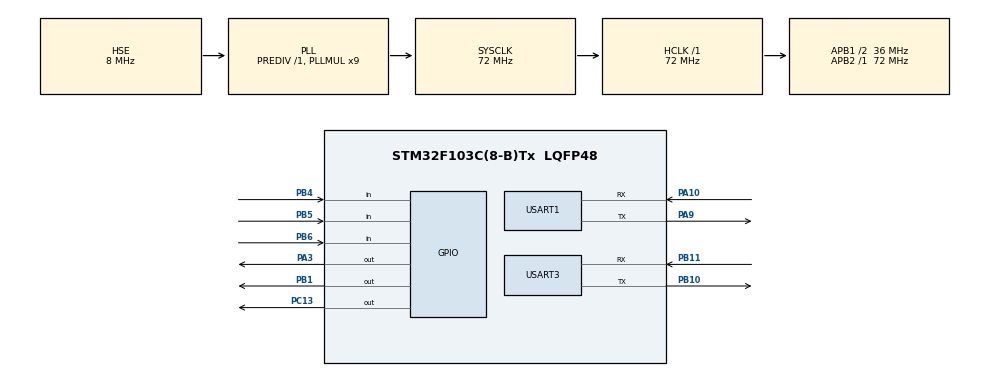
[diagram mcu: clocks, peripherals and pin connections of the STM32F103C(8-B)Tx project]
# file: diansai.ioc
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Mcu.Family=STM32F1
Mcu.Name=STM32F103C(8-B)Tx
Mcu.Package=LQFP48
NVIC.PriorityGroup=NVIC_PRIORITYGROUP_4
NVIC.USART1_IRQn=true\:0\:0\:false\:false\:true\:true\:true\:true
NVIC.USART3_IRQn=true\:0\:0\:false\:false\:true\:true\:true\:true
PA10.Mode=Asynchronous
PA10.Signal=USART1_RX
PA13.Mode=Serial_Wire
PA13.Signal=SYS_JTMS-SWDIO
PA14.Mode=Serial_Wire
PA14.Signal=SYS_JTCK-SWCLK
PA3.GPIO_PuPd=GPIO_PULLUP
PA3.Signal=GPIO_Output
PA9.Mode=Asynchronous
PA9.Signal=USART1_TX
PB1.GPIO_PuPd=GPIO_PULLUP
PB1.PinState=GPIO_PIN_RESET
PB1.Signal=GPIO_Output
PB10.Mode=Asynchronous
PB10.Signal=USART3_TX
PB11.Mode=Asynchronous
PB11.Signal=USART3_RX
PB4.GPIO_PuPd=GPIO_PULLDOWN
PB4.Signal=GPIO_Input
PB5.GPIO_PuPd=GPIO_PULLUP
PB5.Signal=GPIO_Input
PB6.GPIO_PuPd=GPIO_PULLUP
PB6.Signal=GPIO_Input
PC13-TAMPER-RTC.GPIO_ModeDefaultOutputPP=GPIO_MODE_OUTPUT_PP
PC13-TAMPER-RTC.GPIO_PuPd=GPIO_PULLUP
PC13-TAMPER-RTC.Signal=GPIO_Output
PC14-OSC32_IN.Mode=LSE-External-Oscillator
PC14-OSC32_IN.Signal=RCC_OSC32_IN
PC15-OSC32_OUT.Mode=LSE-External-Oscillator
PC15-OSC32_OUT.Signal=RCC_OSC32_OUT
PD0-OSC_IN.Mode=HSE-External-Oscillator
PD0-OSC_IN.Signal=RCC_OSC_IN
PD1-OSC_OUT.Mode=HSE-External-Oscillator
PD1-OSC_OUT.Signal=RCC_OSC_OUT
ProjectManager.HeapSize=0x200
ProjectManager.StackSize=0x400
ProjectManager.TargetToolchain=MDK-ARM V5.32
RCC.AHBFreq_Value=72000000
RCC.APB1CLKDivider=RCC_HCLK_DIV2
RCC.APB1Freq_Value=36000000
RCC.APB1TimFreq_Value=72000000
RCC.APB2Freq_Value=72000000
RCC.APB2TimFreq_Value=72000000
RCC.HCLKFreq_Value=72000000
RCC.PLLMUL=RCC_PLL_MUL9
RCC.PLLSourceVirtual=RCC_PLLSOURCE_HSE
RCC.SYSCLKFreq_VALUE=72000000
RCC.SYSCLKSource=RCC_SYSCLKSOURCE_PLLCLK
RCC.USBFreq_Value=72000000
USART1.VirtualMode=VM_ASYNC
USART3.VirtualMode=VM_ASYNC
board=custom

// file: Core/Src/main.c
/* USER CODE BEGIN Header */
/**
  ******************************************************************************
  * @file           : main.c
  * @brief          : Main program body
  ******************************************************************************
  * @attention
  *
  * Copyright (c) 2026 STMicroelectronics.
  * All rights reserved.
  *
  * This software is licensed under terms that can be found in the LICENSE file
  * in the root directory of this software component.
  * If no LICENSE file comes with this software, it is provided AS-IS.
  *
  ******************************************************************************
  */
/* USER CODE END Header */
#include "main.h"
#include "usart.h"
#include "gpio.h"

/* USER CODE BEGIN Includes */
#include "motor.h"
#include "protocol.h"
/* USER CODE END Includes */

/* USER CODE BEGIN PD */
#define GAME_TIMEOUT_MS      3000U   /* 游戏完成超时 */
#define COMPLETE_DURATION_MS 5000U   /* 完成模式持续时间 */
/* USER CODE END PD */

/* USER CODE BEGIN PV */
uint8_t g_mode;          /* 工作模式：1/2/3，由按键 PB4/PB5/PB6 决定 */
uint8_t uart1_rx_byte;   /* UART1 单字节中断接收缓冲 */

typedef enum {
    SYS_WAIT_TRIGGER, /* 等待 PB4 高电平触发 */
    SYS_IDLE,         /* 等待第一个坐标帧 */
    SYS_WAIT_NEXT,    /* 已发 DONE，等待下一条指令或超时 */
    SYS_COMPLETE      /* 游戏完成，闪烁 5s */
} SysState;
SysState sys_state;
uint32_t tick_done;      /* DONE 帧发送时刻 */
uint32_t tick_complete;  /* 进入完成模式时刻 */
/* USER CODE END PV */

void SystemClock_Config(void);
/* USER CODE BEGIN PFP */
static void pick_and_place(MoveCommand *cmd);
/* USER CODE END PFP */

/* USER CODE BEGIN 0 */

/**
  * @brief  执行一次 pick-and-place 动作序列
  * @param  cmd  已解析的坐标指令
  * @note   阻塞执行，所有步骤串行等待到位
  */
static void pick_and_place(MoveCommand *cmd)
{
    /* 1. 移动到抓取点（先发后等，并行等待应答） */
    {
        uint8_t grab_cnt = 0;
        uint8_t grab_list[2];

        if (Motor_SendMoveTo(MOTOR_ADDR_X, cmd->x_grab + HOME_OFFSET_X_MM, UNIT_MM) == 0)
            grab_list[grab_cnt++] = MOTOR_ADDR_X;
        if (Motor_SendMoveTo(MOTOR_ADDR_Y, cmd->y_grab + HOME_OFFSET_Y_MM, UNIT_MM) == 0)
            grab_list[grab_cnt++] = MOTOR_ADDR_Y;
        if (grab_cnt > 0)
            Motor_WaitAllDone(grab_list, grab_cnt, MOTOR_TIMEOUT_MS);
    }

    /* 2. Z 轴落下 */
    if (Motor_SendMoveTo(MOTOR_ADDR_Z, Z_HEIGHT_LOWER_MM, UNIT_MM) == 0)
        Motor_WaitMoveDone(MOTOR_ADDR_Z);

    /* 3. 电磁铁吸合 */
    HAL_GPIO_WritePin(GPIOB, GPIO_PIN_1, GPIO_PIN_SET);

    /* 4. Z 轴抬起 */
    if (Motor_SendMoveTo(MOTOR_ADDR_Z, Z_HEIGHT_RAISE_MM, UNIT_MM) == 0)
        Motor_WaitMoveDone(MOTOR_ADDR_Z);

    /* 5. 移动到放置点（先发后等，并行等待应答） */
    {
        uint8_t place_list[2];
        uint8_t place_cnt = 0;

        if (Motor_SendMoveTo(MOTOR_ADDR_X,   cmd->x_place + HOME_OFFSET_X_MM, UNIT_MM) == 0)
            place_list[place_cnt++] = MOTOR_ADDR_X;
        if (Motor_SendMoveTo(MOTOR_ADDR_Y,   cmd->y_place + HOME_OFFSET_Y_MM, UNIT_MM) == 0)
            place_list[place_cnt++] = MOTOR_ADDR_Y;
        if (place_cnt > 0)
            Motor_WaitAllDone(place_list, place_cnt, MOTOR_TIMEOUT_MS);
    }

    /* 5.5 Yaw 旋转到目标角度 */
    if (Motor_SendMoveTo(MOTOR_ADDR_YAW, cmd->yaw, UNIT_DEG) == 0)
        Motor_WaitMoveDone(MOTOR_ADDR_YAW);

    /* 6. Z 轴落下 */
    if (Motor_SendMoveTo(MOTOR_ADDR_Z, Z_HEIGHT_LOWER_MM, UNIT_MM) == 0)
        Motor_WaitMoveDone(MOTOR_ADDR_Z);

    /* 7. 电磁铁释放 */
    HAL_GPIO_WritePin(GPIOB, GPIO_PIN_1, GPIO_PIN_RESET);

    /* 8. Z 轴抬起 */
    if (Motor_SendMoveTo(MOTOR_ADDR_Z, Z_HEIGHT_RAISE_MM, UNIT_MM) == 0)
        Motor_WaitMoveDone(MOTOR_ADDR_Z);

    /* 9. Yaw 归零 */
    if (Motor_SendMoveTo(MOTOR_ADDR_YAW, 0.0f, UNIT_DEG) == 0)
        Motor_WaitMoveDone(MOTOR_ADDR_YAW);
}

/* USER CODE END 0 */

int main(void)
{

  /* MCU Configuration--------------------------------------------------------*/

  /* Reset of all peripherals, Initializes the Flash interface and the Systick. */
    HAL_Init();

  /* Configure the system clock */
    SystemClock_Config();

  /* Initialize all configured peripherals */
    MX_GPIO_Init();
    MX_USART1_UART_Init();
    MX_USART3_UART_Init();
  /* USER CODE BEGIN 2 */

	Motor_Init();                                // 使能+清零四轴

	HAL_UART_Receive_IT(&huart1, &uart1_rx_byte, 1);  // 启动单字节接收

	sys_state = SYS_WAIT_TRIGGER;                // 等待 PB4 触发

  /* USER CODE END 2 */

  /* Infinite loop */
  /* USER CODE BEGIN WHILE */
  while (1)
  {
    switch (sys_state)
    {
    case SYS_WAIT_TRIGGER:
        /* 检测模式按键（低电平有效），互斥 */
        {
            uint8_t pb4 = HAL_GPIO_ReadPin(GPIOB, GPIO_PIN_4);
            uint8_t pb5 = HAL_GPIO_ReadPin(GPIOB, GPIO_PIN_5);
            uint8_t pb6 = HAL_GPIO_ReadPin(GPIOB, GPIO_PIN_6);

            if (pb4 == GPIO_PIN_SET || pb5 == GPIO_PIN_RESET || pb6 == GPIO_PIN_RESET)
            {
                HAL_Delay(20);  /* 消抖 */
                pb4 = HAL_GPIO_ReadPin(GPIOB, GPIO_PIN_4);
                pb5 = HAL_GPIO_ReadPin(GPIOB, GPIO_PIN_5);
                pb6 = HAL_GPIO_ReadPin(GPIOB, GPIO_PIN_6);

                if (pb4 == GPIO_PIN_SET)
                    g_mode = 1;
                else if (pb5 == GPIO_PIN_RESET)
                    g_mode = 2;
                else if (pb6 == GPIO_PIN_RESET)
                    g_mode = 3;

                Protocol_Init(g_mode);
                sys_state = SYS_IDLE;
            }
        }
        break;

    case SYS_IDLE:
    case SYS_WAIT_NEXT:
        /* 收到坐标帧 → 执行动作 → 发 DONE → 看门狗计时 */
        if (Protocol_IsFrameReady())
        {
            MoveCommand cmd;
            if (Protocol_GetCommand(&cmd) == 0 && cmd.valid)
            {
                pick_and_place(&cmd);
                Protocol_SendDone();
                tick_done  = HAL_GetTick();
                sys_state  = SYS_WAIT_NEXT;
            }
        }

        /* 3s 内未收到下一条指令 → 游戏完成 */
        if (sys_state == SYS_WAIT_NEXT
            && HAL_GetTick() - tick_done > GAME_TIMEOUT_MS)
        {
            /* 四轴归零（仅发送，不等待到位） */
            Motor_SendMoveTo(MOTOR_ADDR_X,   0.0f, UNIT_MM);
            Motor_SendMoveTo(MOTOR_ADDR_Y,   0.0f, UNIT_MM);
            Motor_SendMoveTo(MOTOR_ADDR_Z,   0.0f, UNIT_MM);
            Motor_SendMoveTo(MOTOR_ADDR_YAW, 0.0f, UNIT_DEG);

            tick_complete = HAL_GetTick();
            sys_state     = SYS_COMPLETE;
        }
        break;

    case SYS_COMPLETE:
        {
            uint32_t elapsed = HAL_GetTick() - tick_complete;
            if (elapsed < COMPLETE_DURATION_MS)
            {
                /* 0.5Hz 闪烁：亮 0.5s / 灭 0.5s */
                uint8_t on = ((elapsed % 1000) < 500);
                HAL_GPIO_WritePin(GPIOC, GPIO_PIN_13, on ? GPIO_PIN_SET : GPIO_PIN_RESET);
                HAL_GPIO_WritePin(GPIOA, GPIO_PIN_3,  on ? GPIO_PIN_SET : GPIO_PIN_RESET);
            }
            else
            {
                /* 5s 后关闭，回到待触发状态 */
                HAL_GPIO_WritePin(GPIOC, GPIO_PIN_13, GPIO_PIN_RESET);
                HAL_GPIO_WritePin(GPIOA,  GPIO_PIN_3,  GPIO_PIN_RESET);
                sys_state = SYS_WAIT_TRIGGER;
            }
        }
        break;
    }

    /* USER CODE END WHILE */

  }
}

void SystemClock_Config(void)
{
  RCC_OscInitTypeDef RCC_OscInitStruct = {0};
  RCC_ClkInitTypeDef RCC_ClkInitStruct = {0};

  /** Initializes the RCC Oscillators according to the specified parameters
  * in the RCC_OscInitTypeDef structure.
  */
  RCC_OscInitStruct.OscillatorType = RCC_OSCILLATORTYPE_HSE;
  RCC_OscInitStruct.HSEState = RCC_HSE_ON;
  RCC_OscInitStruct.HSEPredivValue = RCC_HSE_PREDIV_DIV1;
  RCC_OscInitStruct.HSIState = RCC_HSI_ON;
  RCC_OscInitStruct.PLL.PLLState = RCC_PLL_ON;
  RCC_OscInitStruct.PLL.PLLSource = RCC_PLLSOURCE_HSE;
  RCC_OscInitStruct.PLL.PLLMUL = RCC_PLL_MUL9;
  if (HAL_RCC_OscConfig(&RCC_OscInitStruct) != HAL_OK)
  {
    Error_Handler();
  }

  /** Initializes the CPU, AHB and APB buses clocks
  */
  RCC_ClkInitStruct.ClockType = RCC_CLOCKTYPE_HCLK|RCC_CLOCKTYPE_SYSCLK
                              |RCC_CLOCKTYPE_PCLK1|RCC_CLOCKTYPE_PCLK2;
  RCC_ClkInitStruct.SYSCLKSource = RCC_SYSCLKSOURCE_PLLCLK;
  RCC_ClkInitStruct.AHBCLKDivider = RCC_SYSCLK_DIV1;
  RCC_ClkInitStruct.APB1CLKDivider = RCC_HCLK_DIV2;
  RCC_ClkInitStruct.APB2CLKDivider = RCC_HCLK_DIV1;

  if (HAL_RCC_ClockConfig(&RCC_ClkInitStruct, FLASH_LATENCY_2) != HAL_OK)
  {
    Error_Handler();
  }
}

/* USER CODE BEGIN 4 */

/* UART1 接收回调：逐字节喂入协议状态机 */
void HAL_UART_RxCpltCallback(UART_HandleTypeDef *huart)
{
    if (huart->Instance == USART1)
    {
        Protocol_FeedByte(uart1_rx_byte);
        HAL_UART_Receive_IT(&huart1, &uart1_rx_byte, 1);  /* 重新启动接收 */
    }
}

/* USER CODE END 4 */

void Error_Handler(void)
{
  __disable_irq();
  while (1)
  {
  }
}
